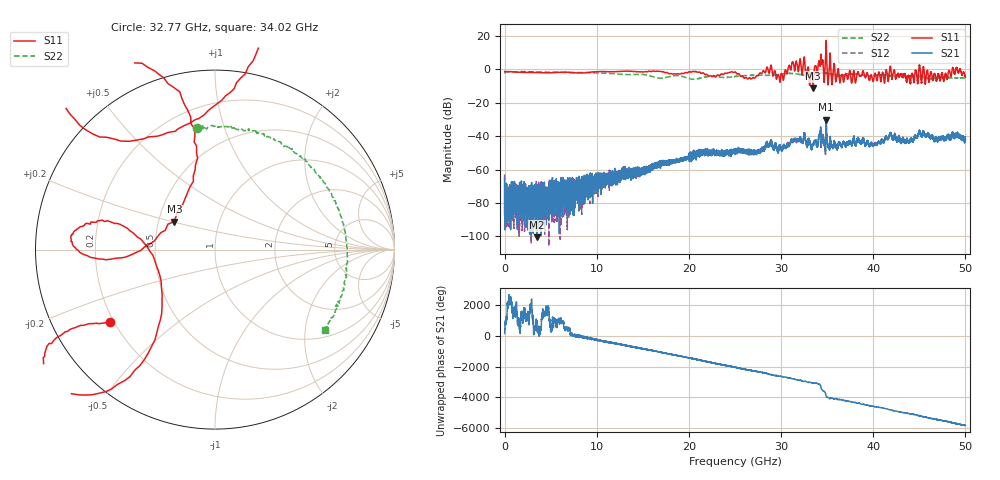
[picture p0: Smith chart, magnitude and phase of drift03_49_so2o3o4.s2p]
!Created with skrf (http://scikit-rf.org).
# Hz S RI R 50.0
!freq ReS11 ImS11 ReS21 ImS21 ReS12 ImS12 ReS22 ImS22
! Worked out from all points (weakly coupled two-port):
!   10001 points, 300 kHz to 50 GHz, reference 50 ohm
!   highest |S21| = -30.01 dB at 34.89 GHz (marker M1); lowest = -100.4 dB at 3.515 GHz (marker M2)
!   lowest |S11| = -11.2 dB at 33.47 GHz (marker M3), VSWR 1.76, Z = 30.2 + j10.2 ohm
!   |S11| at or under -10 dB: 33.44965 GHz to 33.4846 GHz (34.94 MHz wide, 0.104 % of centre)
!   |S22| runs from -5.9 to -1.3 dB; largest |S21 - S12| = 0.0067
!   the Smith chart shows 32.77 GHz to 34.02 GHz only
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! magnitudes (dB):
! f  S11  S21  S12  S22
! 300 kHz  -1.3  -65.0  -62.9  -2.0
! 255.3 MHz  -1.3  -87.0  -79.7  -1.4
! 3.515 GHz  -1.9  -100.4  -89.0  -1.5
! 8.335 GHz  -2.2  -68.0  -69.3  -1.9
! 16.67 GHz  -1.1  -56.6  -56.4  -5.2
! 25 GHz  -1.5  -50.4  -48.9  -4.3
! 26.92 GHz  -4.9  -49.4  -50.0  -3.6
! 28.73 GHz  -2.2  -44.9  -45.6  -3.5
! 30.06 GHz  -2.5  -47.2  -47.1  -2.8
! 31.87 GHz  -1.4  -41.7  -41.9  -2.9
! 33.34 GHz  -2.1  -46.8  -47.5  -2.9
! 33.47 GHz  -11.2  -44.8  -44.5  -2.8
! 34.3 GHz  7.2  -34.4  -34.9  -2.3
! 34.89 GHz  17.1  -30.0  -31.5  -2.3
! 36.58 GHz  -3.4  -47.0  -46.0  -3.6
! 40.15 GHz  -2.9  -44.8  -44.4  -3.7
! 41.67 GHz  -5.5  -40.5  -40.5  -3.6
! 43.84 GHz  -3.9  -44.1  -43.1  -3.9
! 45.22 GHz  -7.8  -39.7  -39.7  -4.5
! 47.07 GHz  -2.8  -41.8  -42.4  -5.0
! 49.21 GHz  -2.0  -39.9  -40.3  -5.1
! 50 GHz  -4.7  -42.2  -41.5  -4.9
